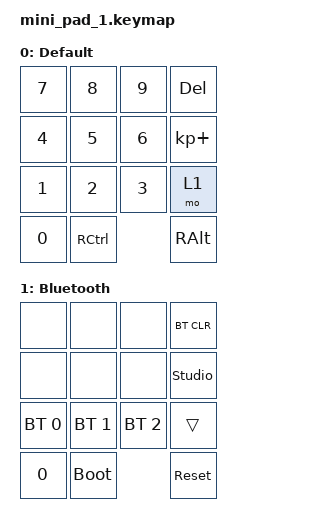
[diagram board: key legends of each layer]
// This file was generated from a template. Edit it to match your keyboard.
// See https://zmk.dev/docs/development/hardware-integration/new-shield for more instructions.

#include <behaviors.dtsi>
#include <dt-bindings/zmk/keys.h>
#include <dt-bindings/zmk/bt.h>

/ {
    // Define a default keymap here.
    // See https://zmk.dev/docs/development/hardware-integration/new-shield#default-keymap.
    keymap {
        compatible = "zmk,keymap";

        default_layer {
            display-name = "Default";
            bindings = <
                &kp N7 &kp N8 &kp N9 &kp DEL
                &kp N4 &kp N5 &kp N6 &kp KP_PLUS
                &kp N1 &kp N2 &kp N3 &mo 1
                &kp N0 &kp RCTRL     &kp RALT
            >;
        };
        bluetooth_layer {
            display-name = "Bluetooth";
            bindings = <
                &none        &none        &none        &bt BT_CLR
                &none        &none        &none        &studio_unlock
                &bt BT_SEL 0 &bt BT_SEL 1 &bt BT_SEL 2 &trans
                &kp N0       &bootloader            &sys_reset
            >;
        };
    };
};
